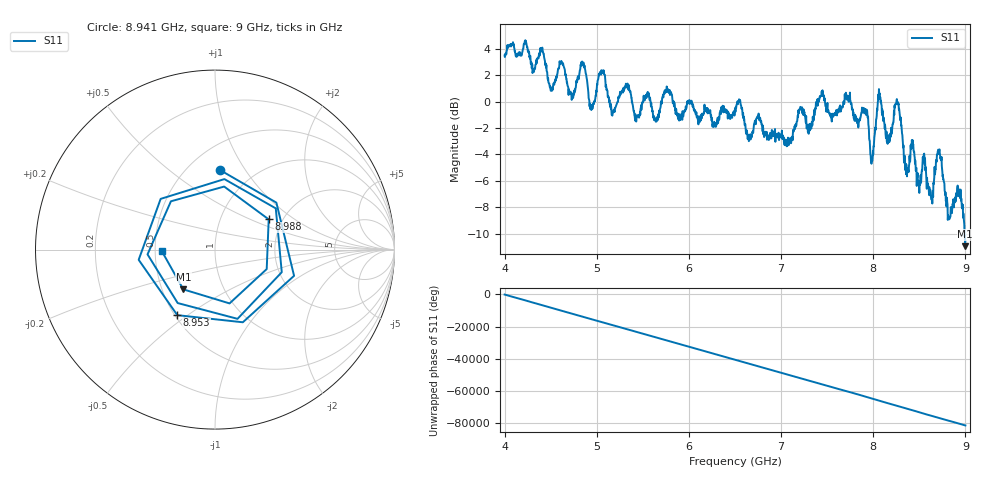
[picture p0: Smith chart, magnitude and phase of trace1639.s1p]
! Created with skrf 1.8.0 (http://scikit-rf.org).
# Hz S RI R 50.0
!freq ReS11 ImS11
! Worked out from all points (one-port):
!   1601 points, 4 GHz to 9 GHz, reference 50 ohm
!   lowest |S11| = -11.0 dB at 8.997 GHz (marker M1), VSWR 1.79, Z = 32.1 - j15.5 ohm
!   |S11| at or under -10 dB: 8.990262 GHz to end of sweep
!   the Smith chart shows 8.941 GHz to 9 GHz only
!   S11 on the Smith chart (normalised r, x): 8.941 GHz: 0.70, +0.78; 8.953 GHz: 0.51, -0.46; 8.988 GHz: 1.70, +0.65; 9 GHz: 0.54, -0.01
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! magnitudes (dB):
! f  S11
! 4 GHz  3.5
! 4.4 GHz  4.0
! 4.503 GHz  0.8
! 4.625 GHz  2.9
! 4.725 GHz  0.5
! 4.85 GHz  2.7
! 4.944 GHz  -0.5
! 5.05 GHz  2.4
! 5.25 GHz  0.6
! 5.875 GHz  -0.9
! 6.5 GHz  -0.5
! 7.125 GHz  -2.9
! 7.75 GHz  0.1
! 7.919 GHz  -0.6
! 7.984 GHz  -4.5
! 8.062 GHz  0.9
! 8.159 GHz  -3.1
! 8.256 GHz  0.2
! 8.375 GHz  -5.0
! 8.431 GHz  -3.4
! 8.625 GHz  -7.2
! 8.716 GHz  -3.7
! 8.812 GHz  -8.6
! 8.941 GHz  -7.1
! 8.953 GHz  -7.5
! 8.988 GHz  -9.3
! 8.997 GHz  -11.0
! 9 GHz  -10.6
